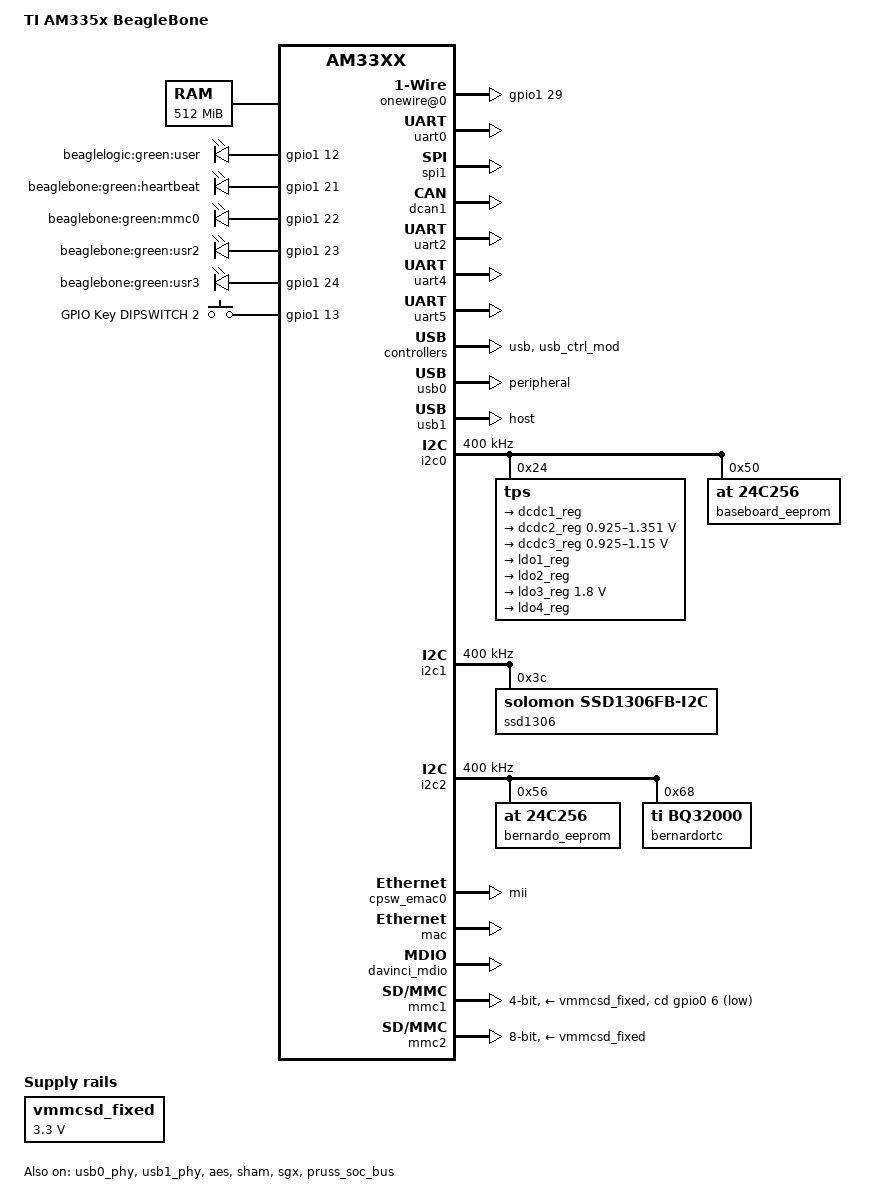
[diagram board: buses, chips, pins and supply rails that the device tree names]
/*
 * Copyright (C) 2012 Texas Instruments Incorporated - http://www.ti.com/
 *
 * This program is free software; you can redistribute it and/or modify
 * it under the terms of the GNU General Public License version 2 as
 * published by the Free Software Foundation.
 */
/dts-v1/;

#include "am33xx.dtsi"

/ {
	model = "TI AM335x BeagleBone";
	compatible = "ti,am335x-bone", "ti,am33xx";
};

/ {
	cpus {
		cpu@0 {
			cpu0-supply = <&dcdc2_reg>;
		};
	};

	memory {
		device_type = "memory";
		reg = <0x80000000 0x20000000>; /* 512 MB */
	};

	leds {
		pinctrl-names = "default";
		pinctrl-0 = <&user_leds_pins>;

		compatible = "gpio-leds";

		led@1 {
			label = "beaglelogic:green:user";
			gpios = <&gpio1 12 GPIO_ACTIVE_HIGH>;
			linux,default-trigger = "heartbeat";
			default-state = "on";
		};

		led@2 {
			label = "beaglebone:green:heartbeat";
			gpios = <&gpio1 21 GPIO_ACTIVE_HIGH>;
			linux,default-trigger = "heartbeat";
			default-state = "off";
		};

		led@3 {
			label = "beaglebone:green:mmc0";
			gpios = <&gpio1 22 GPIO_ACTIVE_HIGH>;
			linux,default-trigger = "mmc0";
			default-state = "off";
		};

		led@4 {
			label = "beaglebone:green:usr2";
			gpios = <&gpio1 23 GPIO_ACTIVE_HIGH>;
			linux,default-trigger = "cpu0";
			default-state = "off";
		};

		led@5 {
			label = "beaglebone:green:usr3";
			gpios = <&gpio1 24 GPIO_ACTIVE_HIGH>;
			linux,default-trigger = "mmc1";
			default-state = "off";
		};
	};

	gpios {
		pinctrl-names = "default";
		pinctrl-0 = <&user_switch_pins>;

		compatible = "gpio-keys";

		gpio@1 {
			label = "GPIO Key DIPSWITCH 2";
			linux,code = <4>;
			gpios = <&gpio1 13 GPIO_ACTIVE_HIGH>;
		};
	};

	vmmcsd_fixed: fixedregulator@0 {
		compatible = "regulator-fixed";
		regulator-name = "vmmcsd_fixed";
		regulator-min-microvolt = <3300000>;
		regulator-max-microvolt = <3300000>;
	};

	pru-beaglelogic {
		compatible = "beaglelogic,beaglelogic";
		pinctrl-names = "default";
		pinctrl-0 = <&pru_pins>;
		samplerate = <50000000>;	/* All (100 / n) MHz sample rates, n = 1,2,... */
		sampleunit = <1>;		/* 0:16-bit samples, 1:8-bit samples */
		triggerflags = <0>; 		/* 0:one-shot, 1:continuous */

		pruss = <&pruss>;
		interrupt-parent = <&pruss_intc>;
		interrupts = <22>, <23>, <24>;
		interrupt-names = "from_bl_1", "to_bl", "from_bl_2";
	};

	onewire@0 {
		compatible = "w1-gpio";
		pinctrl-names = "default";
		pinctrl-0 = <&w1_pins>;

		gpios = <&gpio1 29 1>;

		status = "okay";
	};
};

&am33xx_pinmux {
	pinctrl-names = "default";

	user_switch_pins: pinmux_user_switch {
		pinctrl-single,pins = <
			0x34 (PIN_INPUT_PULLUP | MUX_MODE7 ) /* (R12) gpmc_ad13.gpio1[13], beaglelogic user button */
		>;
	};

	user_leds_pins: pinmux_user_leds {
		pinctrl-single,pins = <
			0x30 ( PIN_OUTPUT_PULLUP | MUX_MODE7 ) /* (T12) gpmc_ad12.gpio1[12], beaglelogic user led */
			0x54 ( PIN_OUTPUT_PULLDOWN | MUX_MODE7 ) /* (V15) gpmc_a5.gpio1[21], beaglebone:green:heartbeat led */
			0x58 ( PIN_OUTPUT_PULLUP | MUX_MODE7 ) /* (U15) gpmc_a6.gpio1[22], beaglebone:green:mmc0 led */
			0x5c ( PIN_OUTPUT_PULLDOWN | MUX_MODE7 ) /* (T15) gpmc_a7.gpio1[23], beaglebone:green:usr2 led */
			0x60 ( PIN_OUTPUT_PULLUP | MUX_MODE7 ) /* (V16) gpmc_a8.gpio1[24], beaglebone:green:usr3 led */
		>;
	};

	i2c0_pins: pinmux_i2c0_pins {
		pinctrl-single,pins = <
			0x188 (PIN_INPUT_PULLUP | MUX_MODE0)	/* i2c0_sda.i2c0_sda */
			0x18c (PIN_INPUT_PULLUP | MUX_MODE0)	/* i2c0_scl.i2c0_scl */
		>;
	};

	i2c1_pins: pinmux_i2c1_pins {
		pinctrl-single,pins = <
			0x15c ( PIN_INPUT | MUX_MODE2 ) /* (A16) spi0_cs0.I2C1_SCL */
			0x158 ( PIN_INPUT | MUX_MODE2 ) /* (B16) spi0_d1.I2C1_SDA */
		>;
	};

	i2c2_pins: pinmux_i2c2_pins {
		pinctrl-single,pins = <
			0x178 (PIN_INPUT_PULLUP | MUX_MODE3)	/* uart1_ctsn.i2c2_sda */
			0x17c (PIN_INPUT_PULLUP | MUX_MODE3)	/* uart1_rtsn.i2c2_scl */
			0x40  (PIN_OUTPUT_PULLDOWN | MUX_MODE7) /* (R13) gpmc_a0.gpio1[16], CFG.WP */
			0x78  (PIN_OUTPUT_PULLDOWN | MUX_MODE7) /* (U18) gpmc_be1n.gpio1[28], ID.WP */
		>;
	};

	davinci_mdio_default: davinci_mdio_default {
		pinctrl-single,pins = <
			/* MDIO */
			0x148 (PIN_INPUT_PULLUP | SLEWCTRL_FAST | MUX_MODE0)	/* mdio_data.mdio_data */
			0x14c (PIN_OUTPUT_PULLUP | MUX_MODE0)			/* mdio_clk.mdio_clk */
		>;
	};

	davinci_mdio_sleep: davinci_mdio_sleep {
		pinctrl-single,pins = <
			/* MDIO reset value */
			0x148 (PIN_INPUT_PULLDOWN | MUX_MODE7)
			0x14c (PIN_INPUT_PULLDOWN | MUX_MODE7)
		>;
	};

	mmc1_pins: pinmux_mmc1_pins {
		pinctrl-single,pins = <
			0x160 ( PIN_INPUT | MUX_MODE7 ) /* (C15) spi0_cs1.gpio0[6] */
		>;
	};

	emmc_pins: pinmux_emmc_pins {
		pinctrl-single,pins = <
			0x80 ( PIN_INPUT_PULLUP | MUX_MODE2 ) /* (U9) gpmc_csn1.mmc1_clk */
			0x84 ( PIN_INPUT_PULLUP | MUX_MODE2 ) /* (V9) gpmc_csn2.mmc1_cmd */
			0x00 ( PIN_INPUT_PULLUP | MUX_MODE1 ) /* (U7) gpmc_ad0.mmc1_dat0 */
			0x04 ( PIN_INPUT_PULLUP | MUX_MODE1 ) /* (V7) gpmc_ad1.mmc1_dat1 */
			0x08 ( PIN_INPUT_PULLUP | MUX_MODE1 ) /* (R8) gpmc_ad2.mmc1_dat2 */
			0x0c ( PIN_INPUT_PULLUP | MUX_MODE1 ) /* (T8) gpmc_ad3.mmc1_dat3 */
			0x10 ( PIN_INPUT_PULLUP | MUX_MODE1 ) /* (U8) gpmc_ad4.mmc1_dat4 */
			0x14 ( PIN_INPUT_PULLUP | MUX_MODE1 ) /* (V8) gpmc_ad5.mmc1_dat5 */
			0x18 ( PIN_INPUT_PULLUP | MUX_MODE1 ) /* (R9) gpmc_ad6.mmc1_dat6 */
			0x1c ( PIN_INPUT_PULLUP | MUX_MODE1 ) /* (T9) gpmc_ad7.mmc1_dat7 */
		>;
	};

	cpsw_default: cpsw_default {
		pinctrl-single,pins = <
			/* Slave 1 */
			0x108 ( PIN_INPUT | MUX_MODE0 ) /* (H16) gmii1_col.gmii1_col */
			0x10c ( PIN_INPUT | MUX_MODE0 ) /* (H17) gmii1_crs.gmii1_crs */
			0x110 ( PIN_INPUT_PULLUP | MUX_MODE0 ) /* (J15) gmii1_rxer.gmii1_rxer */
			0x114 ( PIN_OUTPUT_PULLDOWN | MUX_MODE0 ) /* (J16) gmii1_txen.gmii1_txen */
			0x118 ( PIN_INPUT_PULLUP | MUX_MODE0 ) /* (J17) gmii1_rxdv.gmii1_rxdv */
			0x12c ( PIN_INPUT_PULLUP | MUX_MODE0 ) /* (K18) gmii1_txclk.gmii1_txclk */
			0x130 ( PIN_INPUT_PULLUP | MUX_MODE0 ) /* (L18) gmii1_rxclk.gmii1_rxclk */
			0x128 ( PIN_OUTPUT_PULLDOWN | MUX_MODE0 ) /* (K17) gmii1_txd0.gmii1_txd0 */
			0x124 ( PIN_OUTPUT_PULLDOWN | MUX_MODE0 ) /* (K16) gmii1_txd1.gmii1_txd1 */
			0x120 ( PIN_OUTPUT_PULLDOWN | MUX_MODE0 ) /* (K15) gmii1_txd2.gmii1_txd2 */
			0x11c ( PIN_OUTPUT_PULLDOWN | MUX_MODE0 ) /* (J18) gmii1_txd3.gmii1_txd3 */
			0x140 ( PIN_INPUT_PULLUP | MUX_MODE0 ) /* (M16) gmii1_rxd0.gmii1_rxd0 */
			0x13c ( PIN_INPUT_PULLUP | MUX_MODE0 ) /* (L15) gmii1_rxd1.gmii1_rxd1 */
			0x138 ( PIN_INPUT_PULLUP | MUX_MODE0 ) /* (L16) gmii1_rxd2.gmii1_rxd2 */
			0x134 ( PIN_INPUT_PULLUP | MUX_MODE0 ) /* (L17) gmii1_rxd3.gmii1_rxd3 */
		>;
	};

	cpsw_sleep: cpsw_sleep {
		pinctrl-single,pins = <
			/* Slave 1 reset value */
			0x108 (PIN_INPUT_PULLDOWN | MUX_MODE7) /* (H16) gmii1_col.gmii1_col */
			0x10c (PIN_INPUT_PULLDOWN | MUX_MODE7) /* (H17) gmii1_crs.gmii1_crs */
			0x114 (PIN_INPUT_PULLDOWN | MUX_MODE7)	/* mii1_txen.rgmii1_tctl */
			0x118 (PIN_INPUT_PULLDOWN | MUX_MODE7)	/* mii1_rxdv.rgmii1_rctl */
			0x11c (PIN_INPUT_PULLDOWN | MUX_MODE7)	/* mii1_txd3.rgmii1_txd3 */
			0x120 (PIN_INPUT_PULLDOWN | MUX_MODE7)	/* mii1_txd2.rgmii1_txd2 */
			0x124 (PIN_INPUT_PULLDOWN | MUX_MODE7)	/* mii1_txd1.rgmii1_txd1 */
			0x128 (PIN_INPUT_PULLDOWN | MUX_MODE7)	/* mii1_txd0.rgmii1_txd0 */
			0x12c (PIN_INPUT_PULLDOWN | MUX_MODE7)	/* mii1_txclk.rgmii1_txclk */
			0x130 (PIN_INPUT_PULLDOWN | MUX_MODE7)	/* mii1_rxclk.rgmii1_rxclk */
			0x134 (PIN_INPUT_PULLDOWN | MUX_MODE7)	/* mii1_rxd3.rgmii1_rxd3 */
			0x138 (PIN_INPUT_PULLDOWN | MUX_MODE7)	/* mii1_rxd2.rgmii1_rxd2 */
			0x13c (PIN_INPUT_PULLDOWN | MUX_MODE7)	/* mii1_rxd1.rgmii1_rxd1 */
			0x140 (PIN_INPUT_PULLDOWN | MUX_MODE7)	/* mii1_rxd0.rgmii1_rxd0 */
		>;
	};

	pru_pins: pinmux_pru_pins {
		pinctrl-single,pins = <
			0xa0 ( PIN_INPUT_PULLDOWN | MUX_MODE6 ) /* P8_45 (R1) lcd_data0.pr1_pru1_pru_r31[0] */
			0xa4 ( PIN_INPUT_PULLDOWN | MUX_MODE6 ) /* P8_46 (R2) lcd_data1.pr1_pru1_pru_r31[1] */
			0xa8 ( PIN_INPUT_PULLDOWN | MUX_MODE6 ) /* P8_43 (R3) lcd_data2.pr1_pru1_pru_r31[2] */
			0xac ( PIN_INPUT_PULLDOWN | MUX_MODE6 ) /* P8_44 (R4) lcd_data3.pr1_pru1_pru_r31[3] */
			0xb0 ( PIN_INPUT_PULLDOWN | MUX_MODE6 ) /* P8_41 (T1) lcd_data4.pr1_pru1_pru_r31[4] */
			0xb4 ( PIN_INPUT_PULLDOWN | MUX_MODE6 ) /* P8_42 (T2) lcd_data5.pr1_pru1_pru_r31[5] */
			0xb8 ( PIN_INPUT_PULLDOWN | MUX_MODE6 ) /* P8_39 (T3) lcd_data6.pr1_pru1_pru_r31[6] */
			0xbc ( PIN_INPUT_PULLDOWN | MUX_MODE6 ) /* P8_40 (T4) lcd_data7.pr1_pru1_pru_r31[7] */
			0xe0 ( PIN_INPUT_PULLDOWN | MUX_MODE6 ) /* P8_27 (U5) lcd_vsync.pr1_pru1_pru_r31[8] */
			0xe4 ( PIN_INPUT_PULLDOWN | MUX_MODE6 ) /* P8_29 (R5) lcd_hsync.pr1_pru1_pru_r31[9] */
			0xe8 ( PIN_INPUT_PULLDOWN | MUX_MODE6 ) /* P8_28 (V5) lcd_pclk.pr1_pru1_pru_r31[10] */
			0xec ( PIN_INPUT_PULLDOWN | MUX_MODE6 ) /* P8_30 (R6) lcd_ac_bias_en.pr1_pru1_pru_r31[11] */

			// emmc.clk
			//0x80 ( PIN_INPUT_PULLDOWN | MUX_MODE6 ) /* (U9) gpmc_csn1.pr1_pru1_pru_r31[12] */
			// emmc.cmd
			//0x84 ( PIN_INPUT_PULLDOWN | MUX_MODE6 ) /* (V9) gpmc_csn2.pr1_pru1_pru_r31[13] */

			// uart0.rxd
			//0x170 ( PIN_INPUT_PULLDOWN | MUX_MODE6 ) /* P9_26 (E15) uart0_rxd.pr1_pru1_pru_r31[14] */
			// uart0.txd
			//0x174 ( PIN_INPUT_PULLDOWN | MUX_MODE6 ) /* P9_24 (E16) uart0_txd.pr1_pru1_pru_r31[15] */

			// i2c1.sda
			//0x1b0 ( PIN_INPUT_PULLDOWN | MUX_MODE5 ) /*  (A15) xdma_event_intr0.pr1_pru1_pru_r31[16] */

			//0x64 ( PIN_OUTPUT | MUX_MODE7 ) /* P9_13 (U16) gpmc_a9.gpio1[25] - GPIO_VSEL*/
			//0x68 ( PIN_OUTPUT | MUX_MODE7 ) /* (T16) gpmc_a10.gpio1[26] - GPIO_OE */
		>;
	};

	w1_pins: pinmux_w1_pins {
		pinctrl-single,pins = <
			0x7c ( PIN_INPUT_PULLDOWN | MUX_MODE7 ) /* (V6) gpmc_csn0.gpio1[29], 1 wire pin (TODO) */
		>;
	};

	uart0_pins: pinmux_uart0_pins {
		pinctrl-single,pins = <
			0x170 ( PIN_INPUT_PULLUP | MUX_MODE0 ) /* (E15) uart0_rxd.uart0_rxd */
			0x174 ( PIN_OUTPUT_PULLDOWN | MUX_MODE0 ) /* (E16) uart0_txd.uart0_txd */
		>;
	};

	can1_pins: pinmux_can1_pins {
		pinctrl-single,pins = <
			0x184 ( PIN_INPUT_PULLUP | MUX_MODE2 ) /* (D15) uart1_txd.dcan1_rx */
			0x180 ( PIN_OUTPUT | MUX_MODE2 ) /* (D16) uart1_rxd.dcan1_tx */
		>;
	};

	// ttl
	uart2_pins: pinmux_uart2_pins {
		pinctrl-single,pins = <
			0x150 ( PIN_INPUT_PULLUP | MUX_MODE1 ) /* (A17) spi0_sclk.uart2_rxd */
			0x154 ( PIN_OUTPUT_PULLDOWN | MUX_MODE1 ) /* (B17) spi0_d0.uart2_txd */
		>;
	};

	// rs232
	uart4_pins: pinmux_uart4_pins {
		pinctrl-single,pins = <
			0x70 ( PIN_INPUT_PULLUP | MUX_MODE6 ) /* (T17) gpmc_wait0.uart4_rxd */
			0x74 ( PIN_OUTPUT_PULLDOWN | MUX_MODE6 ) /* (U17) gpmc_wpn.uart4_txd */
			0xd0 ( PIN_INPUT_PULLUP | MUX_MODE6 ) /* (V2) lcd_data12.uart4_ctsn */
			0xd4 ( PIN_OUTPUT_PULLDOWN | MUX_MODE6 ) /* (V3) lcd_data13.uart4_rtsn */
		>;
	};

	// rs485
	uart5_pins: pinmux_uart5_pins {
		pinctrl-single,pins = <
			0xc4 ( PIN_INPUT_PULLUP | MUX_MODE4 ) /* (U2) lcd_data9.uart5_rxd */
			0xc0 ( PIN_OUTPUT_PULLDOWN | MUX_MODE4 ) /* (U1) lcd_data8.uart5_txd */
			0xdc ( PIN_OUTPUT_PULLDOWN | MUX_MODE6 ) /* (T5) lcd_data15.uart5_rtsn */
			// configure T5 as GPIO when using the old omap_serial driver
			// 0xdc ( PIN_OUTPUT_PULLDOWN | MUX_MODE7 ) /* (T5) lcd_data15.gpio0[11] */
		>;
	};

	// spi1.cs1 is in conflict with i2c2.scl
	spi1_pins: pinmux_spi1_pins {
		pinctrl-single,pins = <
			0x190 ( PIN_INPUT_PULLUP | MUX_MODE3 ) /* (A13) mcasp0_aclkx.spi1_sclk */
			0x194 ( PIN_INPUT_PULLUP | MUX_MODE3 ) /* (B13) mcasp0_fsx.spi1_d0 */
			0x198 ( PIN_OUTPUT_PULLUP | MUX_MODE3 ) /* (D12) mcasp0_axr0.spi1_d1 */
			0x19c ( PIN_OUTPUT_PULLUP | MUX_MODE3 ) /* (C12) mcasp0_ahclkr.spi1_cs0 */
		>;
	};

	eqep0_pins: pinmux_eqep0_pins {
		pinctrl-single,pins = <
			0x1a0 ( PIN_INPUT_PULLUP | MUX_MODE1 ) /* (B12) mcasp0_aclkr.eQEP0A_in */
			0x1a4 ( PIN_INPUT_PULLUP | MUX_MODE1 ) /* (C13) mcasp0_fsr.eQEP0B_in */
		>;
	};

	rtc0_pins: pinmux_rtc0_pins {
		pinctrl-single,pins = <
			0x1f8 ( PIN_INPUT_PULLUP | MUX_MODE0 ) /* (B5) RTC_PORz.RTC_PORz */
			0x200 ( PIN_OUTPUT_PULLDOWN | MUX_MODE0 ) /* (C5) EXT_WAKEUP.EXT_WAKEUP */
			0x1fc ( PIN_INPUT_PULLUP | MUX_MODE0 ) /* (C6) PMIC_POWER_EN.PMIC_POWER_EN */
			0x204 ( PIN_INPUT_PULLUP | MUX_MODE0 ) /* (B4) ENZ_KALDO_1P8V.ENZ_KALDO_1P8V */
		>;
	};
};

&uart0 {
	pinctrl-names = "default";
	pinctrl-0 = <&uart0_pins>;

	status = "okay";
};

&spi1 {
	pinctrl-names = "default";
	pinctrl-0 = <&spi1_pins>;

	#address-cells = <1>;
	#size-cells = <0>;
	status = "okay";

	channel@0 {
		#address-cells = <1>;
		#size-cells = <0>;
		compatible = "spidev";
		reg = <0>;
		spi-max-frequency = <24000000>;
	};

	channel@1 {
		#address-cells = <1>;
		#size-cells = <0>;
		compatible = "spidev";
		reg = <1>;
		spi-max-frequency = <24000000>;
	};
};

&dcan1 {
	pinctrl-names = "default";
	pinctrl-0 = <&can1_pins>;
	status = "okay";
};

// ttl
&uart2 {
	pinctrl-names = "default";
	pinctrl-0 = <&uart2_pins>;
	status = "okay";
};

// rs232
&uart4 {
	pinctrl-names = "default";
	pinctrl-0 = <&uart4_pins>;
	status = "okay";
};

// rs485 (omap_serial driver)
// &uart5 {
//	pinctrl-names = "default";
//	pinctrl-0 = <&uart5_pins>;
//	status = "okay";
//
//	rs485-rts-delay = <0 0>;
//
//	rts-gpio = <&gpio0 11 1>; /*  GPIO_ACTIVE_HIGH>; */
//	rs485-rts-active-high;
//	linux,rs485-enabled-at-boot-time;
//};

// rs485 (8250 serial driver)
// use ioctl calls to put driver in rs485 mode
// see: Documentation/serial/serial-rs485.txt
&uart5 {
	pinctrl-names = "default";
	pinctrl-0 = <&uart5_pins>;
	status = "okay";
};

&usb {
	status = "okay";
};

&usb_ctrl_mod {
	status = "okay";
};

&usb0_phy {
	status = "okay";
};

&usb1_phy {
	status = "okay";
};

&usb0 {
	status = "okay";
	dr_mode = "peripheral";
};

&usb1 {
	status = "okay";
	dr_mode = "host";
};

&cppi41dma  {
	status = "okay";
};

&i2c0 {
	pinctrl-names = "default";
	pinctrl-0 = <&i2c0_pins>;

	status = "okay";
	clock-frequency = <400000>;

	tps: tps@24 {
		reg = <0x24>;
	};

	baseboard_eeprom: baseboard_eeprom@50 {
		compatible = "at,24c256";
		reg = <0x50>;

		#address-cells = <1>;
		#size-cells = <1>;
		baseboard_data: baseboard_data@0 {
			reg = <0 0x100>;
		};
	};
};

&i2c1 {
	pinctrl-names = "default";
	pinctrl-0 = <&i2c1_pins>;

	status = "okay";
	clock-frequency = <400000>;

	ssd1306: oled@3c {
		compatible = "solomon,ssd1306fb-i2c";
		reg = <0x3c>;
		solomon,height = <64>;
		solomon,width = <128>;
		solomon,page-offset = <0>;
	};
};

&i2c2 {
	pinctrl-names = "default";
	pinctrl-0 = <&i2c2_pins>;

	status = "okay";
	clock-frequency = <400000>;

	bernardo_eeprom: beaglelogic_eeprom@56 {
		compatible = "at,24c256";
		reg = <0x56>;
		#address-cells = <1>;
		#size-cells = <1>;
		bernardo_data: cape_data@0 {
			reg = <0 0x100>;
		};
	};

	bernardortc: bq32000@68 {
		compatible = "ti,bq32000";
		reg = <0x68>;
	};
};


/include/ "tps65217.dtsi"

&tps {
	/*
	 * Configure pmic to enter OFF-state instead of SLEEP-state ("RTC-only
	 * mode") at poweroff.  Most BeagleBone versions do not support RTC-only
	 * mode and risk hardware damage if this mode is entered.
	 *
	 * For details, see linux-omap mailing list May 2015 thread
	 *	[PATCH] ARM: dts: am335x-bone* enable pmic-shutdown-controller
	 * In particular, messages:
	 *	http://www.spinics.net/lists/linux-omap/msg118585.html
	 *	http://www.spinics.net/lists/linux-omap/msg118615.html
	 *
	 * You can override this later with
	 *	&tps {  /delete-property/ ti,pmic-shutdown-controller;  }
	 * if you want to use RTC-only mode and made sure you are not affected
	 * by the hardware problems. (Tip: double-check by performing a current
	 * measurement after shutdown: it should be less than 1 mA.)
	 */
	ti,pmic-shutdown-controller;

	regulators {
		dcdc1_reg: regulator@0 {
			regulator-name = "vdds_dpr";
			regulator-always-on;
		};

		dcdc2_reg: regulator@1 {
			/* VDD_MPU voltage limits 0.95V - 1.26V with +/-4% tolerance */
			regulator-name = "vdd_mpu";
			regulator-min-microvolt = <925000>;
			regulator-max-microvolt = <1351500>;
			regulator-boot-on;
			regulator-always-on;
		};

		dcdc3_reg: regulator@2 {
			/* VDD_CORE voltage limits 0.95V - 1.1V with +/-4% tolerance */
			regulator-name = "vdd_core";
			regulator-min-microvolt = <925000>;
			regulator-max-microvolt = <1150000>;
			regulator-boot-on;
			regulator-always-on;
		};

		ldo1_reg: regulator@3 {
			regulator-name = "vio,vrtc,vdds";
			regulator-always-on;
		};

		ldo2_reg: regulator@4 {
			regulator-name = "vdd_3v3aux";
			regulator-always-on;
		};

		ldo3_reg: regulator@5 {
			regulator-name = "vdd_1v8";
			regulator-always-on;
		};

		ldo4_reg: regulator@6 {
			regulator-name = "vdd_3v3a";
			regulator-always-on;
		};
	};
};

&cpsw_emac0 {
	phy_id = <&davinci_mdio>, <0>;
	phy-mode = "mii";
};

&mac {
	slaves = <1>;
	pinctrl-names = "default", "sleep";
	pinctrl-0 = <&cpsw_default>;
	pinctrl-1 = <&cpsw_sleep>;
	status = "okay";
};

&davinci_mdio {
	pinctrl-names = "default", "sleep";
	pinctrl-0 = <&davinci_mdio_default>;
	pinctrl-1 = <&davinci_mdio_sleep>;
	status = "okay";
};

&mmc1 {
	status = "okay";
	bus-width = <0x4>;
	pinctrl-names = "default";
	pinctrl-0 = <&mmc1_pins>;
	cd-gpios = <&gpio0 6 GPIO_ACTIVE_LOW>;
	vmmc-supply = <&vmmcsd_fixed>;
};

&mmc2 {
	vmmc-supply = <&vmmcsd_fixed>;
	pinctrl-names = "default";
	pinctrl-0 = <&emmc_pins>;
	bus-width = <8>;
	status = "okay";
};

&aes {
	status = "okay";
};

&sham {
	status = "okay";
};

&wkup_m3_ipc {
	ti,scale-data-fw = "am335x-bone-scale-data.bin";
};

&rtc {
	clocks = <&clk_32768_ck>, <&clkdiv32k_ick>;
	clock-names = "ext-clk", "int-clk";
	system-power-controller;
};

&sgx {
	status = "okay";
};

&pruss_soc_bus {
	status = "okay";

	pruss: pruss@4a300000 {
		status = "okay";

		pru0: pru@4a334000 {
			status = "okay";
		};

		pru1: pru@4a338000 {
			status = "okay";
		};
	};
};

&ldo3_reg {
	regulator-min-microvolt = <1800000>;
	regulator-max-microvolt = <1800000>;
	regulator-always-on;
};

&cpu0_opp_table {
	/*
	 * All PG 2.0 silicon may not support 1GHz but some of the early
	 * BeagleBone Blacks have PG 2.0 silicon which is guaranteed
	 * to support 1GHz OPP so enable it for PG 2.0 on this board.
	 */
	oppnitro@1000000000 {
		opp-supported-hw = <0x06 0x0100>;
	};
};
